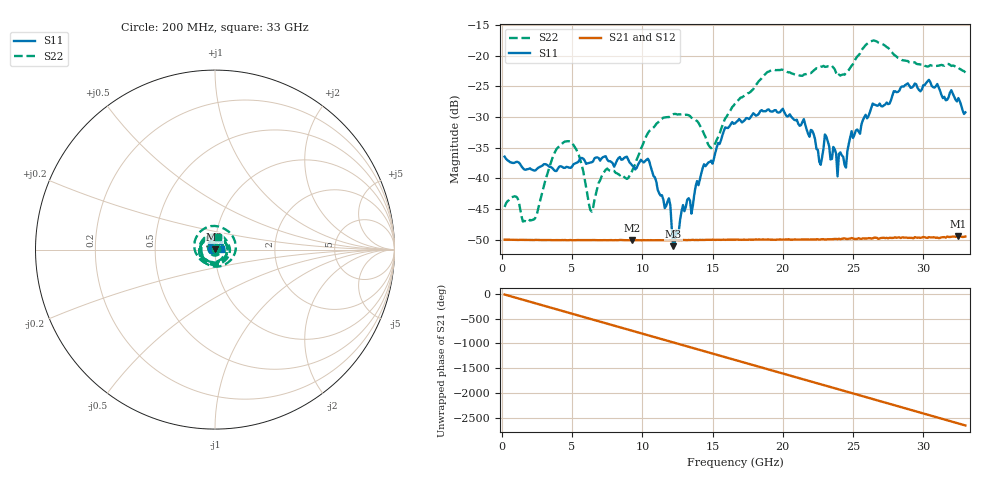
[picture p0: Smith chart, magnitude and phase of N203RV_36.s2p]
# GHZ S RI R 50
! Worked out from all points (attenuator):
!   329 points, 200 MHz to 33 GHz, reference 50 ohm
!   highest |S21| = -49.44 dB at 32.5 GHz (marker M1); lowest = -50.1 dB at 9.3 GHz (marker M2)
!   lowest |S11| = -51.0 dB at 12.2 GHz (marker M3), VSWR 1.01, Z = 49.8 + j0.137 ohm
!   |S11| at or under -10 dB: start of sweep to end of sweep
!   |S22| runs from -47.1 to -17.5 dB; largest |S21 - S12| = 7.2e-05
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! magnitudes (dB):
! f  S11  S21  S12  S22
! 200 MHz  -36.4  -50.0  -49.9  -44.6
! 2.3 GHz  -38.7  -50.0  -50.0  -46.7
! 4.4 GHz  -38.3  -50.0  -50.0  -34.1
! 5.7 GHz  -36.7  -50.0  -50.0  -37.9
! 6.4 GHz  -37.4  -50.0  -50.0  -45.4
! 7.4 GHz  -36.4  -50.1  -50.1  -38.6
! 9.3 GHz  -37.9  -50.1  -50.0  -38.7
! 10.4 GHz  -36.8  -50.0  -50.1  -32.6
! 11.2 GHz  -42.4  -50.1  -50.0  -30.7
! 11.9 GHz  -43.2  -50.1  -50.0  -30.0
! 12.2 GHz  -51.0  -50.0  -50.0  -29.5
! 14.9 GHz  -37.1  -50.0  -50.0  -35.1
! 16.6 GHz  -31.0  -49.9  -49.9  -27.8
! 22.1 GHz  -32.2  -49.9  -49.9  -22.6
! 22.7 GHz  -37.8  -49.9  -49.9  -21.8
! 23 GHz  -32.8  -49.9  -49.9  -21.8
! 23.7 GHz  -35.2  -49.9  -49.9  -22.2
! 23.9 GHz  -39.7  -49.9  -49.8  -23.3
! 24.9 GHz  -32.3  -49.7  -49.7  -21.6
! 27.6 GHz  -27.8  -49.6  -49.7  -19.0
! 32.5 GHz  -26.9  -49.4  -49.5  -22.0
! 33 GHz  -29.2  -49.4  -49.5  -22.7
